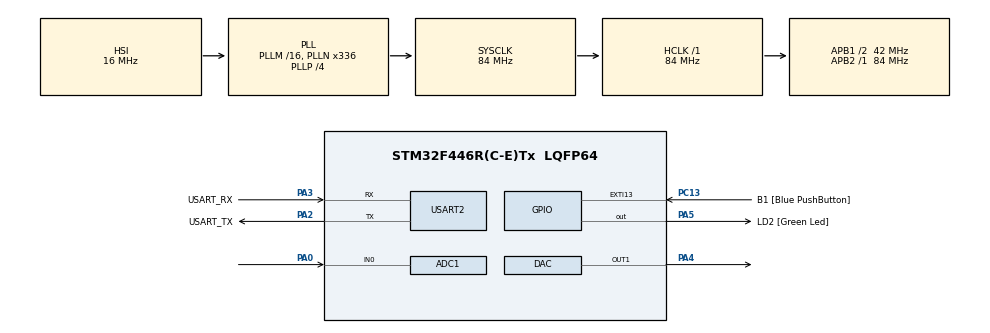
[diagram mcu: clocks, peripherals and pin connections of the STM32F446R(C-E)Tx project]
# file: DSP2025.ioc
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ADC1.Channel-0\#ChannelRegularConversion=ADC_CHANNEL_0
ADC1.ClockPrescaler=ADC_CLOCK_SYNC_PCLK_DIV8
ADC1.DMAContinuousRequests=ENABLE
ADC1.ExternalTrigConv=ADC_EXTERNALTRIGCONV_T3_TRGO
ADC1.NbrOfConversionFlag=1
ADC1.Rank-0\#ChannelRegularConversion=1
ADC1.SamplingTime-0\#ChannelRegularConversion=ADC_SAMPLETIME_480CYCLES
ADC1.master=1
DAC.DAC_Trigger=DAC_TRIGGER_T7_TRGO
Dma.ADC1.1.Direction=DMA_PERIPH_TO_MEMORY
Dma.ADC1.1.FIFOMode=DMA_FIFOMODE_DISABLE
Dma.ADC1.1.Instance=DMA2_Stream0
Dma.ADC1.1.MemDataAlignment=DMA_MDATAALIGN_HALFWORD
Dma.ADC1.1.MemInc=DMA_MINC_ENABLE
Dma.ADC1.1.Mode=DMA_CIRCULAR
Dma.ADC1.1.PeriphDataAlignment=DMA_PDATAALIGN_HALFWORD
Dma.ADC1.1.PeriphInc=DMA_PINC_DISABLE
Dma.ADC1.1.Priority=DMA_PRIORITY_LOW
Dma.DAC1.0.Direction=DMA_MEMORY_TO_PERIPH
Dma.DAC1.0.FIFOMode=DMA_FIFOMODE_DISABLE
Dma.DAC1.0.Instance=DMA1_Stream5
Dma.DAC1.0.MemDataAlignment=DMA_MDATAALIGN_HALFWORD
Dma.DAC1.0.MemInc=DMA_MINC_ENABLE
Dma.DAC1.0.Mode=DMA_CIRCULAR
Dma.DAC1.0.PeriphDataAlignment=DMA_PDATAALIGN_HALFWORD
Dma.DAC1.0.PeriphInc=DMA_PINC_DISABLE
Dma.DAC1.0.Priority=DMA_PRIORITY_LOW
Dma.Request0=DAC1
Dma.Request1=ADC1
Mcu.Family=STM32F4
Mcu.Name=STM32F446R(C-E)Tx
Mcu.Package=LQFP64
NVIC.DMA1_Stream5_IRQn=true\:1\:0\:true\:false\:true\:false\:true\:true
NVIC.DMA2_Stream0_IRQn=true\:0\:0\:false\:false\:true\:false\:true\:true
NVIC.PriorityGroup=NVIC_PRIORITYGROUP_2
NVIC.TIM1_UP_TIM10_IRQn=true\:1\:1\:true\:false\:true\:false\:true\:true
NVIC.TIM7_IRQn=true\:3\:0\:true\:false\:true\:true\:true\:true
NVIC.TimeBase=TIM1_UP_TIM10_IRQn
NVIC.TimeBaseIP=TIM10
PA0-WKUP.Signal=ADCx_IN0
PA13.GPIO_Label=TMS
PA13.Mode=Serial_Wire
PA13.Signal=SYS_JTMS-SWDIO
PA14.GPIO_Label=TCK
PA14.Mode=Serial_Wire
PA14.Signal=SYS_JTCK-SWCLK
PA2.GPIO_Label=USART_TX
PA2.Mode=Asynchronous
PA2.Signal=USART2_TX
PA3.GPIO_Label=USART_RX
PA3.Mode=Asynchronous
PA3.Signal=USART2_RX
PA4.Signal=COMP_DAC1_group
PA5.GPIO_Label=LD2 [Green Led]
PA5.Signal=GPIO_Output
PB3.GPIO_Label=SWO
PB3.Signal=SYS_JTDO-SWO
PC13.GPIO_Label=B1 [Blue PushButton]
PC13.GPIO_ModeDefaultEXTI=GPIO_MODE_IT_FALLING
PC13.Signal=GPXTI13
PC14-OSC32_IN.Mode=LSE-External-Oscillator
PC14-OSC32_IN.Signal=RCC_OSC32_IN
PC15-OSC32_OUT.Mode=LSE-External-Oscillator
PC15-OSC32_OUT.Signal=RCC_OSC32_OUT
PH0-OSC_IN.Mode=HSE-External-Oscillator
PH0-OSC_IN.Signal=RCC_OSC_IN
PH1-OSC_OUT.Mode=HSE-External-Oscillator
PH1-OSC_OUT.Signal=RCC_OSC_OUT
ProjectManager.HeapSize=0x200
ProjectManager.StackSize=0x400
ProjectManager.TargetToolchain=STM32CubeIDE
RCC.48MHZClocksFreq_Value=84000000
RCC.AHBFreq_Value=84000000
RCC.APB1CLKDivider=RCC_HCLK_DIV2
RCC.APB1Freq_Value=42000000
RCC.APB1TimFreq_Value=84000000
RCC.APB2Freq_Value=84000000
RCC.APB2TimFreq_Value=84000000
RCC.CortexFreq_Value=84000000
RCC.FLatency-AdvancedSettings=FLASH_LATENCY_2
RCC.HCLKFreq_Value=84000000
RCC.HSE_VALUE=8000000
RCC.HSI_VALUE=16000000
RCC.PLLN=336
RCC.PLLP=RCC_PLLP_DIV4
RCC.SYSCLKFreq_VALUE=84000000
RCC.SYSCLKSource=RCC_SYSCLKSOURCE_PLLCLK
RCC.USBFreq_Value=168000000
RCC.VCOOutputFreq_Value=336000000
SH.ADCx_IN0.0=ADC1_IN0,IN0
SH.COMP_DAC1_group.0=DAC_OUT1,DAC_OUT1
TIM3.Period=124
TIM3.Prescaler=84
TIM3.TIM_MasterOutputTrigger=TIM_TRGO_UPDATE
TIM7.Period=840
TIM7.Prescaler=2
TIM7.TIM_MasterOutputTrigger=TIM_TRGO_UPDATE
USART2.VirtualMode=VM_ASYNC
VP_SYS_VS_tim10.Mode=TIM10
VP_TIM3_VS_ClockSourceINT.Mode=Internal
VP_TIM7_VS_ClockSourceINT.Mode=Enable_Timer
board=NUCLEO-F446RE

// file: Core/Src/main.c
/* USER CODE BEGIN Header */

/* USER CODE END Header */

#include "main.h"

/* USER CODE BEGIN Includes */
#include "arm_math.h"
#include <stdio.h>
/* USER CODE END Includes */

/* USER CODE BEGIN PD */
#define BIN_CLAP_LO   41
#define BIN_CLAP_HI   51

/* USER CODE END PD */

ADC_HandleTypeDef hadc1;
DMA_HandleTypeDef hdma_adc1;

DAC_HandleTypeDef hdac;
DMA_HandleTypeDef hdma_dac1;

TIM_HandleTypeDef htim3;
TIM_HandleTypeDef htim7;

UART_HandleTypeDef huart2;

/* USER CODE BEGIN PV */

/*       */
uint16_t adcBuf[BLOCK_SIZE * 2];
volatile uint8_t processHalf = 0;
volatile uint8_t blockReady  = 0;

/* --- Buffers de traitement DSP ---                                          */
static float32_t fftInput[BLOCK_SIZE];
static float32_t fftOutput[BLOCK_SIZE];
float32_t fftMag[BLOCK_SIZE / 2];

/* --- FFT CMSIS ---                                                   */
arm_rfft_fast_instance_f32 fftHandler;

/* --- Resultats detection ---                                                */
float32_t  clapPower      = 0.0f;   /* puissance totale de la trame          */
float32_t  clapBandEnergy = 0.0f;   /* energie dans la bande 2500-3500 Hz    */
float32_t  noiseFloor     = 100.0f; /* estimation bruit de fond (adaptatif)  */
uint32_t   clapCount      = 0;      /* compteur de claps detectes            */
uint32_t   clapCooldown   = 0;      /* anti-rebond en nombre de trames       */

/* --- Variables SWV Data Trace                        */
/* Comparator 0 */ float32_t bin500Hz  = 0.0f;  /* fftMag[8]  =  500 Hz     */
/* Comparator 1 */ float32_t bin1000Hz = 0.0f;  /* fftMag[16] = 1000 Hz     */
/* Comparator 2 */ float32_t bin2000Hz = 0.0f;  /* fftMag[32] = 2000 Hz     */
/* Comparator 3 */ float32_t bin3000Hz = 0.0f;  /* fftMag[48] = 3000 Hz     */

/* --- SWV debug signal brut ---                                              */
int16_t inSWV = 0;

/* USER CODE END PV */

void SystemClock_Config(void);
static void MX_GPIO_Init(void);
static void MX_DMA_Init(void);
static void MX_USART2_UART_Init(void);
static void MX_DAC_Init(void);
static void MX_TIM7_Init(void);
static void MX_ADC1_Init(void);
static void MX_TIM3_Init(void);

/* USER CODE BEGIN 0 */
int _write(int file, char *ptr, int len)
{
  for (int i = 0; i < len; i++)
    ITM_SendChar((*ptr++));
  return len;
}
/* USER CODE END 0 */

int main(void)
{

  HAL_Init();

  SystemClock_Config();

  MX_GPIO_Init();
  MX_DMA_Init();
  MX_USART2_UART_Init();
  MX_DAC_Init();
  MX_TIM7_Init();
  MX_ADC1_Init();
  MX_TIM3_Init();

  /* USER CODE BEGIN 2 */

  arm_rfft_fast_init_f32(&fftHandler, BLOCK_SIZE);

  if (HAL_TIM_Base_Start(&htim3) != HAL_OK)
    Error_Handler();

  if (HAL_ADC_Start_DMA(&hadc1,
                         (uint32_t *)adcBuf,
                         BLOCK_SIZE * 2) != HAL_OK)
    Error_Handler();

  /* USER CODE END 2 */

  /* Infinite loop */
  while (1)
  {

    /* USER CODE BEGIN 3 */

    if (blockReady)
    {
      blockReady = 0;

      uint16_t *half = adcBuf + (processHalf * BLOCK_SIZE);

      for (int i = 0; i < BLOCK_SIZE; i++)
        fftInput[i] = (float32_t)half[i];

      float32_t mean = 0.0f;
      arm_mean_f32(fftInput, BLOCK_SIZE, &mean);
      arm_offset_f32(fftInput, -mean, fftInput, BLOCK_SIZE);

      arm_power_f32(fftInput, BLOCK_SIZE, &clapPower);

      arm_rfft_fast_f32(&fftHandler, fftInput, fftOutput, 0);

      fftMag[0] = 0.0f;
      arm_cmplx_mag_f32(&fftOutput[2], &fftMag[1], (BLOCK_SIZE / 2) - 1);

      bin500Hz  = fftMag[8];    /* 500 Hz  */
      bin1000Hz = fftMag[16];   /* 1000 Hz */
      bin2000Hz = fftMag[32];   /* 2000 Hz */
      bin3000Hz = fftMag[48];   /* 3000 Hz */

      clapBandEnergy = 0.0f;
      for (int b = BIN_CLAP_LO; b <= BIN_CLAP_HI; b++)
        clapBandEnergy += fftMag[b];

      float32_t threshold = noiseFloor * 6.0f;
      if (clapBandEnergy < threshold)
        noiseFloor = 0.99f * noiseFloor + 0.01f * clapBandEnergy;

      if (clapCooldown > 0)
        clapCooldown--;

      if (clapBandEnergy > threshold
          && clapBandEnergy > 51000.0f
          && clapPower      > 200000.0f
          && clapCooldown   == 0)
      {
        clapCount++;
        clapCooldown = 30;

        HAL_GPIO_TogglePin(GPIOA, GPIO_PIN_5);

        printf(">>> CLAP %lu | Pwr:%ld | HF:%ld | Seuil:%ld <<<\r\n",
               clapCount,
               (int32_t)clapPower,
               (int32_t)clapBandEnergy,
               (int32_t)threshold);
      }

      /* SWV signal brut                                                    */
      inSWV = (int16_t)half[0];
    }

  /* USER CODE END 3 */
  }
}

void SystemClock_Config(void)
{
  RCC_OscInitTypeDef RCC_OscInitStruct = {0};
  RCC_ClkInitTypeDef RCC_ClkInitStruct = {0};

  __HAL_RCC_PWR_CLK_ENABLE();
  __HAL_PWR_VOLTAGESCALING_CONFIG(PWR_REGULATOR_VOLTAGE_SCALE3);

  RCC_OscInitStruct.OscillatorType      = RCC_OSCILLATORTYPE_HSI;
  RCC_OscInitStruct.HSIState            = RCC_HSI_ON;
  RCC_OscInitStruct.HSICalibrationValue = RCC_HSICALIBRATION_DEFAULT;
  RCC_OscInitStruct.PLL.PLLState        = RCC_PLL_ON;
  RCC_OscInitStruct.PLL.PLLSource       = RCC_PLLSOURCE_HSI;
  RCC_OscInitStruct.PLL.PLLM            = 16;
  RCC_OscInitStruct.PLL.PLLN            = 336;
  RCC_OscInitStruct.PLL.PLLP            = RCC_PLLP_DIV4;
  RCC_OscInitStruct.PLL.PLLQ            = 2;
  RCC_OscInitStruct.PLL.PLLR            = 2;
  if (HAL_RCC_OscConfig(&RCC_OscInitStruct) != HAL_OK)
    Error_Handler();

  RCC_ClkInitStruct.ClockType      = RCC_CLOCKTYPE_HCLK | RCC_CLOCKTYPE_SYSCLK
                                   | RCC_CLOCKTYPE_PCLK1 | RCC_CLOCKTYPE_PCLK2;
  RCC_ClkInitStruct.SYSCLKSource   = RCC_SYSCLKSOURCE_PLLCLK;
  RCC_ClkInitStruct.AHBCLKDivider  = RCC_SYSCLK_DIV1;
  RCC_ClkInitStruct.APB1CLKDivider = RCC_HCLK_DIV2;
  RCC_ClkInitStruct.APB2CLKDivider = RCC_HCLK_DIV1;
  if (HAL_RCC_ClockConfig(&RCC_ClkInitStruct, FLASH_LATENCY_2) != HAL_OK)
    Error_Handler();
}

/**
  * @brief ADC1 Initialization
  *        Declenche par TIM3 TRGO a 8 kHz
  *        DMA circulaire sur adcBuf[256]
  */
static void MX_ADC1_Init(void)
{
  ADC_ChannelConfTypeDef sConfig = {0};

  hadc1.Instance                   = ADC1;
  hadc1.Init.ClockPrescaler        = ADC_CLOCK_SYNC_PCLK_DIV8;
  hadc1.Init.Resolution            = ADC_RESOLUTION_12B;
  hadc1.Init.ScanConvMode          = DISABLE;
  hadc1.Init.ContinuousConvMode    = DISABLE;
  hadc1.Init.DiscontinuousConvMode = DISABLE;
  hadc1.Init.ExternalTrigConvEdge  = ADC_EXTERNALTRIGCONVEDGE_RISING;
  hadc1.Init.ExternalTrigConv      = ADC_EXTERNALTRIGCONV_T3_TRGO;
  hadc1.Init.DataAlign             = ADC_DATAALIGN_RIGHT;
  hadc1.Init.NbrOfConversion       = 1;
  hadc1.Init.DMAContinuousRequests = ENABLE;
  hadc1.Init.EOCSelection          = ADC_EOC_SINGLE_CONV;
  if (HAL_ADC_Init(&hadc1) != HAL_OK)
    Error_Handler();

  sConfig.Channel      = ADC_CHANNEL_0;
  sConfig.Rank         = 1;
  sConfig.SamplingTime = ADC_SAMPLETIME_480CYCLES;
  if (HAL_ADC_ConfigChannel(&hadc1, &sConfig) != HAL_OK)
    Error_Handler();
}

static void MX_DAC_Init(void)
{
  DAC_ChannelConfTypeDef sConfig = {0};

  hdac.Instance = DAC;
  if (HAL_DAC_Init(&hdac) != HAL_OK)
    Error_Handler();

  sConfig.DAC_Trigger      = DAC_TRIGGER_T7_TRGO;
  sConfig.DAC_OutputBuffer = DAC_OUTPUTBUFFER_ENABLE;
  if (HAL_DAC_ConfigChannel(&hdac, &sConfig, DAC_CHANNEL_1) != HAL_OK)
    Error_Handler();
}

static void MX_TIM3_Init(void)
{
  TIM_ClockConfigTypeDef  sClockSourceConfig = {0};
  TIM_MasterConfigTypeDef sMasterConfig      = {0};

  htim3.Instance               = TIM3;
  htim3.Init.Prescaler         = 84;
  htim3.Init.CounterMode       = TIM_COUNTERMODE_UP;
  htim3.Init.Period            = 124;
  htim3.Init.ClockDivision     = TIM_CLOCKDIVISION_DIV1;
  htim3.Init.AutoReloadPreload = TIM_AUTORELOAD_PRELOAD_DISABLE;
  if (HAL_TIM_Base_Init(&htim3) != HAL_OK)
    Error_Handler();

  sClockSourceConfig.ClockSource = TIM_CLOCKSOURCE_INTERNAL;
  if (HAL_TIM_ConfigClockSource(&htim3, &sClockSourceConfig) != HAL_OK)
    Error_Handler();

  sMasterConfig.MasterOutputTrigger = TIM_TRGO_UPDATE;
  sMasterConfig.MasterSlaveMode     = TIM_MASTERSLAVEMODE_DISABLE;
  if (HAL_TIMEx_MasterConfigSynchronization(&htim3, &sMasterConfig) != HAL_OK)
    Error_Handler();
}

static void MX_TIM7_Init(void)
{
  TIM_MasterConfigTypeDef sMasterConfig = {0};

  htim7.Instance               = TIM7;
  htim7.Init.Prescaler         = 2;
  htim7.Init.CounterMode       = TIM_COUNTERMODE_UP;
  htim7.Init.Period            = 840;
  htim7.Init.AutoReloadPreload = TIM_AUTORELOAD_PRELOAD_DISABLE;
  if (HAL_TIM_Base_Init(&htim7) != HAL_OK)
    Error_Handler();

  sMasterConfig.MasterOutputTrigger = TIM_TRGO_UPDATE;
  sMasterConfig.MasterSlaveMode     = TIM_MASTERSLAVEMODE_DISABLE;
  if (HAL_TIMEx_MasterConfigSynchronization(&htim7, &sMasterConfig) != HAL_OK)
    Error_Handler();
}

/**
  * @brief USART2 Initialization
  */
static void MX_USART2_UART_Init(void)
{
  huart2.Instance          = USART2;
  huart2.Init.BaudRate     = 115200;
  huart2.Init.WordLength   = UART_WORDLENGTH_8B;
  huart2.Init.StopBits     = UART_STOPBITS_1;
  huart2.Init.Parity       = UART_PARITY_NONE;
  huart2.Init.Mode         = UART_MODE_TX_RX;
  huart2.Init.HwFlowCtl    = UART_HWCONTROL_NONE;
  huart2.Init.OverSampling = UART_OVERSAMPLING_16;
  if (HAL_UART_Init(&huart2) != HAL_OK)
    Error_Handler();
}

/**
  * @brief DMA Initialization
  */
static void MX_DMA_Init(void)
{
  __HAL_RCC_DMA1_CLK_ENABLE();
  __HAL_RCC_DMA2_CLK_ENABLE();

  HAL_NVIC_SetPriority(DMA1_Stream5_IRQn, 1, 0);
  HAL_NVIC_EnableIRQ(DMA1_Stream5_IRQn);

  HAL_NVIC_SetPriority(DMA2_Stream0_IRQn, 0, 0);
  HAL_NVIC_EnableIRQ(DMA2_Stream0_IRQn);
}

/**
  * @brief GPIO Initialization
  */
static void MX_GPIO_Init(void)
{
  GPIO_InitTypeDef GPIO_InitStruct = {0};

  __HAL_RCC_GPIOC_CLK_ENABLE();
  __HAL_RCC_GPIOH_CLK_ENABLE();
  __HAL_RCC_GPIOA_CLK_ENABLE();
  __HAL_RCC_GPIOB_CLK_ENABLE();

  HAL_GPIO_WritePin(LD2_GPIO_Port, LD2_Pin, GPIO_PIN_RESET);

  /* Bouton utilisateur B1                                                  */
  GPIO_InitStruct.Pin  = B1_Pin;
  GPIO_InitStruct.Mode = GPIO_MODE_IT_FALLING;
  GPIO_InitStruct.Pull = GPIO_NOPULL;
  HAL_GPIO_Init(B1_GPIO_Port, &GPIO_InitStruct);

  /* LED LD2 (PA5) — clignote a chaque clap detecte                        */
  GPIO_InitStruct.Pin   = LD2_Pin;
  GPIO_InitStruct.Mode  = GPIO_MODE_OUTPUT_PP;
  GPIO_InitStruct.Pull  = GPIO_NOPULL;
  GPIO_InitStruct.Speed = GPIO_SPEED_FREQ_LOW;
  HAL_GPIO_Init(LD2_GPIO_Port, &GPIO_InitStruct);
}

/* USER CODE BEGIN 4 */

void HAL_ADC_ConvHalfCpltCallback(ADC_HandleTypeDef *hadc)
{
  if (hadc->Instance == ADC1)
  {
    processHalf = 0;
    blockReady  = 1;
  }
}

void HAL_ADC_ConvCpltCallback(ADC_HandleTypeDef *hadc)
{
  if (hadc->Instance == ADC1)
  {
    processHalf = 1;
    blockReady  = 1;
  }
}

/* USER CODE END 4 */

void HAL_TIM_PeriodElapsedCallback(TIM_HandleTypeDef *htim)
{
  if (htim->Instance == TIM10)
    HAL_IncTick();
}

/**
  * @brief Error Handler
  */
void Error_Handler(void)
{
  __disable_irq();
  while (1) {}
}
